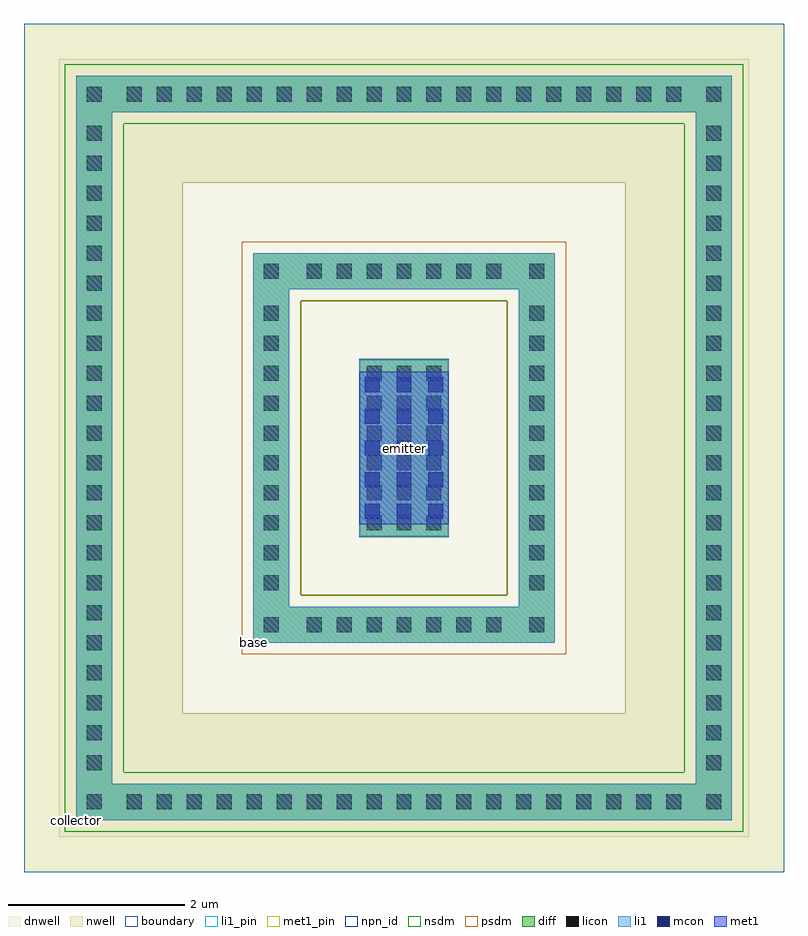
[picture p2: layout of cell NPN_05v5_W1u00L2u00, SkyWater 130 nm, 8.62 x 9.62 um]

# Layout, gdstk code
import gdstk
lib = gdstk.Library(unit=1e-6, precision=1e-09)
def R(c, l, rs):  # rectangles x0, y0, x1, y1
    for r in rs: c.add(gdstk.rectangle(r[:2], r[2:], *l))
def A(c, l, x, y, w, h, nx, ny, dx, dy):  # array of equal rectangles
    R(c, l, [(x+i*dx, y+j*dy, x+i*dx+w, y+j*dy+h) for i in range(nx) for j in range(ny)])
def P(c, l, *ps):  # polygons
    for p in ps: c.add(gdstk.Polygon(p, *l))
dnwell = (64, 18)
nwell = (64, 20)
diff = (65, 20)
licon = (66, 44)
li1_pin = (67, 16)
li1 = (67, 20)
mcon = (67, 44)
met1_pin = (68, 16)
met1 = (68, 20)
npn_id = (82, 20)
nsdm = (93, 44)
psdm = (94, 20)
boundary = (235, 4)

npn_05v5_w1u00l2u00 = lib.new_cell('NPN_05v5_W1u00L2u00')
R(npn_05v5_w1u00l2u00, dnwell, [(-3.91,-4.41,3.91,4.41)])
P(npn_05v5_w1u00l2u00, nwell, [(-4.31,-4.81),(-4.31,4.81),(4.31,4.81),(4.31,-4.81),(-2.51,-4.81),(-2.51,-3.01),(2.51,-3.01),(2.51,3.01),(-2.51,3.01),(-2.51,-4.81)])
R(npn_05v5_w1u00l2u00, diff, [(-0.5,-1,0.5,1)])
P(npn_05v5_w1u00l2u00, diff, [(-1.71,-2.21),(-1.71,2.21),(1.71,2.21),(1.71,-2.21),(-1.3,-2.21),(-1.3,-1.8),(1.3,-1.8),(1.3,1.8),(-1.3,1.8),(-1.3,-2.21)],
  [(-3.72,-4.22),(-3.72,4.22),(3.72,4.22),(3.72,-4.22),(-3.31,-4.22),(-3.31,-3.81),(3.31,-3.81),(3.31,3.81),(-3.31,3.81),(-3.31,-4.22)])
A(npn_05v5_w1u00l2u00, licon, -3.145, -4.1, 0.17, 0.17, 19, 2, 0.34, 8.03)
A(npn_05v5_w1u00l2u00, licon, -3.6, -3.655, 0.17, 0.17, 1, 22, 0, 0.34)
A(npn_05v5_w1u00l2u00, licon, 3.43, -3.655, 0.17, 0.17, 1, 22, 0, 0.34)
A(npn_05v5_w1u00l2u00, licon, -1.105, -2.09, 0.17, 0.17, 7, 2, 0.34, 4.01)
A(npn_05v5_w1u00l2u00, licon, -1.59, -1.615, 0.17, 0.17, 1, 10, 0, 0.34)
A(npn_05v5_w1u00l2u00, licon, 1.42, -1.615, 0.17, 0.17, 1, 10, 0, 0.34)
A(npn_05v5_w1u00l2u00, licon, -0.425, -0.935, 0.17, 0.17, 3, 6, 0.34, 0.34)
R(npn_05v5_w1u00l2u00, licon, [(-3.6,-4.1,-3.43,-3.93), (3.43,-4.1,3.6,-3.93), (-1.59,-2.09,-1.42,-1.92), (1.42,-2.09,1.59,-1.92), (-1.59,1.92,-1.42,2.09), (1.42,1.92,1.59,2.09), (-3.6,3.93,-3.43,4.1), (3.43,3.93,3.6,4.1)])
P(npn_05v5_w1u00l2u00, li1_pin, [(-1.71,-2.21),(-1.71,2.21),(1.71,2.21),(1.71,-2.21),(-1.3,-2.21),(-1.3,-1.8),(1.3,-1.8),(1.3,1.8),(-1.3,1.8),(-1.3,-2.21)],
  [(-3.72,-4.22),(-3.72,4.22),(3.72,4.22),(3.72,-4.22),(-3.31,-4.22),(-3.31,-3.81),(3.31,-3.81),(3.31,3.81),(-3.31,3.81),(-3.31,-4.22)])
R(npn_05v5_w1u00l2u00, li1, [(-0.505,-1.015,0.505,1.015)])
P(npn_05v5_w1u00l2u00, li1, [(-1.71,-2.21),(-1.71,2.21),(1.71,2.21),(1.71,-2.21),(-1.3,-2.21),(-1.3,-1.8),(1.3,-1.8),(1.3,1.8),(-1.3,1.8),(-1.3,-2.21)],
  [(-3.72,-4.22),(-3.72,4.22),(3.72,4.22),(3.72,-4.22),(-3.31,-4.22),(-3.31,-3.81),(3.31,-3.81),(3.31,3.81),(-3.31,3.81),(-3.31,-4.22)])
A(npn_05v5_w1u00l2u00, mcon, -0.445, -0.805, 0.17, 0.17, 3, 5, 0.36, 0.36)
R(npn_05v5_w1u00l2u00, met1_pin, [(-0.505,-0.865,0.505,0.865)])
R(npn_05v5_w1u00l2u00, met1, [(-0.505,-0.865,0.505,0.865)])
R(npn_05v5_w1u00l2u00, npn_id, [(-3.72,-4.22,3.72,4.22)])
R(npn_05v5_w1u00l2u00, nsdm, [(-1.17,-1.67,1.17,1.67)])
P(npn_05v5_w1u00l2u00, nsdm, [(-3.85,-4.35),(-3.85,3.68),(-3.18,3.68),(-3.18,-3.68),(3.18,-3.68),(3.18,3.68),(-3.85,3.68),(-3.85,4.35),(3.85,4.35),(3.85,-4.35)])
P(npn_05v5_w1u00l2u00, psdm, [(-1.84,-2.34),(-1.84,2.34),(1.84,2.34),(1.84,-2.34),(-1.17,-2.34),(-1.17,-1.67),(1.17,-1.67),(1.17,1.67),(-1.17,1.67),(-1.17,-2.34)])
R(npn_05v5_w1u00l2u00, boundary, [(-4.31,-4.81,4.31,4.81)])
npn_05v5_w1u00l2u00.add(gdstk.Label('emitter', (0,0), layer=68, texttype=16))
npn_05v5_w1u00l2u00.add(gdstk.Label('base', (-1.71,-2.21), layer=67, texttype=16))
npn_05v5_w1u00l2u00.add(gdstk.Label('collector', (-3.72,-4.22), layer=67, texttype=16))

lib.write_gds('NPN_05v5_W1u00L2u00.gds')
